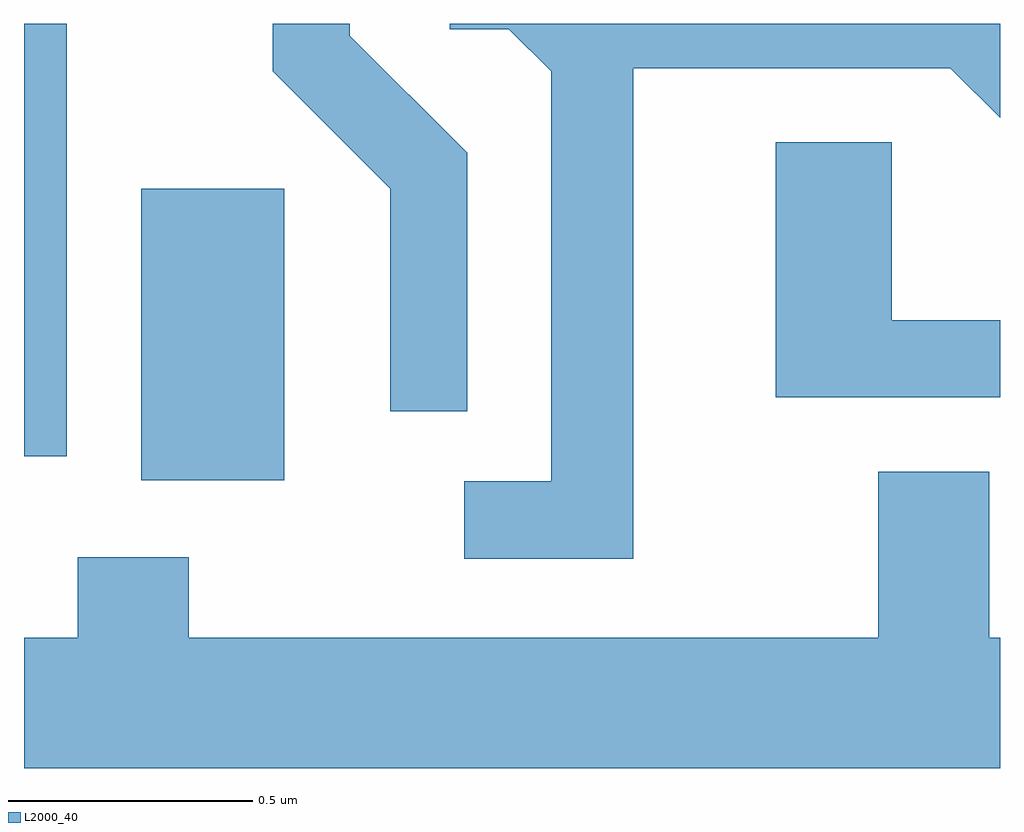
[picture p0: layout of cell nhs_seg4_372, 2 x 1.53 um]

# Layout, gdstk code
import gdstk
lib = gdstk.Library(unit=1e-6, precision=1e-09)
def R(c, l, rs):  # rectangles x0, y0, x1, y1
    for r in rs: c.add(gdstk.rectangle(r[:2], r[2:], *l))
def P(c, l, *ps):  # polygons
    for p in ps: c.add(gdstk.Polygon(p, *l))
L2000_40 = (2000, 40)

nhs_seg4_372 = lib.new_cell('nhs_seg4_372')
R(nhs_seg4_372, L2000_40, [(187.851,1353.046,188.144,1353.644), (187.611,1353.096,187.699,1353.982)])
P(nhs_seg4_372, L2000_40, [(188.859,1353.891),(189.509,1353.891),(189.611,1353.789),(189.611,1353.982),(188.483,1353.982),(188.483,1353.971),(188.604,1353.971),(188.691,1353.884),(188.691,1353.044),(188.513,1353.044),(188.513,1352.886),(188.859,1352.886)],
  [(188.519,1353.717),(188.279,1353.957),(188.279,1353.982),(188.121,1353.982),(188.121,1353.884),(188.361,1353.644),(188.361,1353.188),(188.519,1353.188)],
  [(189.611,1353.374),(189.389,1353.374),(189.389,1353.739),(189.151,1353.739),(189.151,1353.216),(189.611,1353.216)],
  [(189.611,1352.724),(189.589,1352.724),(189.589,1353.064),(189.361,1353.064),(189.361,1352.724),(187.949,1352.724),(187.949,1352.889),(187.721,1352.889),(187.721,1352.724),(187.611,1352.724),(187.611,1352.456),(189.611,1352.456)])

lib.write_gds('nhs_seg4_372.gds')
